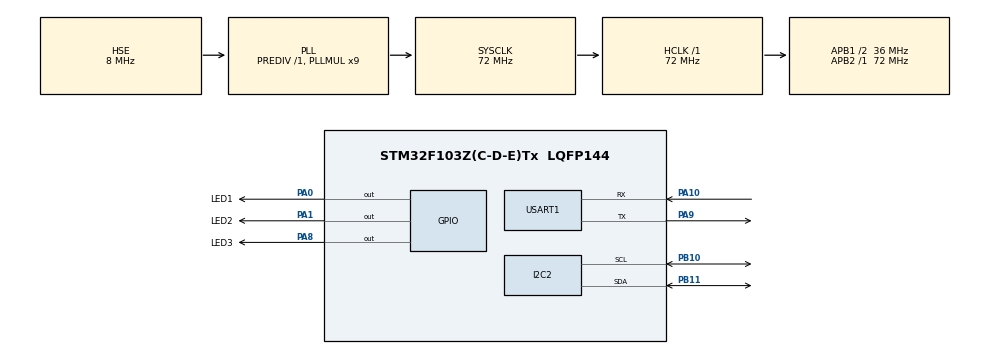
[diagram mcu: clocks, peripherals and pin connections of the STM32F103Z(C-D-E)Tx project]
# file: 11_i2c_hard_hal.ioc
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Mcu.Family=STM32F1
Mcu.Name=STM32F103Z(C-D-E)Tx
Mcu.Package=LQFP144
NVIC.PriorityGroup=NVIC_PRIORITYGROUP_4
NVIC.USART1_IRQn=true\:0\:0\:false\:false\:true\:true\:true\:true
OSC_IN.Mode=HSE-External-Oscillator
OSC_IN.Signal=RCC_OSC_IN
OSC_OUT.Mode=HSE-External-Oscillator
OSC_OUT.Signal=RCC_OSC_OUT
PA0-WKUP.GPIO_Label=LED1
PA0-WKUP.GPIO_Speed=GPIO_SPEED_FREQ_HIGH
PA0-WKUP.PinState=GPIO_PIN_SET
PA0-WKUP.Signal=GPIO_Output
PA1.GPIO_Label=LED2
PA1.GPIO_Speed=GPIO_SPEED_FREQ_HIGH
PA1.PinState=GPIO_PIN_SET
PA1.Signal=GPIO_Output
PA10.Mode=Asynchronous
PA10.Signal=USART1_RX
PA13.Mode=Serial_Wire
PA13.Signal=SYS_JTMS-SWDIO
PA14.Mode=Serial_Wire
PA14.Signal=SYS_JTCK-SWCLK
PA8.GPIO_Label=LED3
PA8.GPIO_Speed=GPIO_SPEED_FREQ_HIGH
PA8.PinState=GPIO_PIN_SET
PA8.Signal=GPIO_Output
PA9.Mode=Asynchronous
PA9.Signal=USART1_TX
PB10.Mode=I2C
PB10.Signal=I2C2_SCL
PB11.Mode=I2C
PB11.Signal=I2C2_SDA
PC14-OSC32_IN.Mode=LSE-External-Oscillator
PC14-OSC32_IN.Signal=RCC_OSC32_IN
PC15-OSC32_OUT.Mode=LSE-External-Oscillator
PC15-OSC32_OUT.Signal=RCC_OSC32_OUT
ProjectManager.HeapSize=0x200
ProjectManager.StackSize=0x400
ProjectManager.TargetToolchain=MDK-ARM V5.32
RCC.AHBFreq_Value=72000000
RCC.APB1CLKDivider=RCC_HCLK_DIV2
RCC.APB1Freq_Value=36000000
RCC.APB1TimFreq_Value=72000000
RCC.APB2Freq_Value=72000000
RCC.APB2TimFreq_Value=72000000
RCC.HCLKFreq_Value=72000000
RCC.PLLMUL=RCC_PLL_MUL9
RCC.PLLSourceVirtual=RCC_PLLSOURCE_HSE
RCC.SYSCLKFreq_VALUE=72000000
RCC.SYSCLKSource=RCC_SYSCLKSOURCE_PLLCLK
RCC.USBFreq_Value=72000000
USART1.VirtualMode=VM_ASYNC
board=custom

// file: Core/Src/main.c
/* USER CODE BEGIN Header */
/**
  ******************************************************************************
  * @file           : main.c
  * @brief          : Main program body
  ******************************************************************************
  * @attention
  *
  * Copyright (c) 2026 STMicroelectronics.
  * All rights reserved.
  *
  * This software is licensed under terms that can be found in the LICENSE file
  * in the root directory of this software component.
  * If no LICENSE file comes with this software, it is provided AS-IS.
  *
  ******************************************************************************
  */
  /* USER CODE END Header */
  /* Includes ------------------------------------------------------------------*/
#include "main.h"
#include "i2c.h"
#include "usart.h"
#include "gpio.h"

/* USER CODE BEGIN Includes */
#include <stdio.h>
/* USER CODE END Includes */

/* USER CODE BEGIN PV */
uint8_t buffer[10] = { 0 };
uint16_t leds[3] = { LED1_Pin, LED2_Pin, LED3_Pin };
uint8_t cmd_index = 0;
/* USER CODE END PV */

void SystemClock_Config(void);
/* USER CODE BEGIN PFP */
uint16_t get_led_pin(uint8_t ch)
{
  printf("%c\n", ch);
  if (ch >= '1' && ch <= '3')
  {
    return leds[ch - '0' - 1];
  }
  return leds[0];
}
/* USER CODE END PFP */

int main(void)
{

  /* MCU Configuration--------------------------------------------------------*/

  /* Reset of all peripherals, Initializes the Flash interface and the Systick. */
  HAL_Init();

  /* Configure the system clock */
  SystemClock_Config();

  /* Initialize all configured peripherals */
  MX_GPIO_Init();
  MX_I2C2_Init();
  MX_USART1_UART_Init();
  /* USER CODE BEGIN 2 */
  HAL_I2C_Mem_Read(&hi2c2, 0xA0, 0x00, I2C_MEMADD_SIZE_8BIT, buffer, 5, UINT32_MAX);

  // 开启了中断使能,开始允许接收指令
  HAL_UART_Receive_IT(&huart1, buffer, 5);

  /* USER CODE END 2 */

  /* Infinite loop */
  /* USER CODE BEGIN WHILE */
  while (1)
  {
    // 1. 根据用户给的字符串获取对应的掩码
    uint8_t cmd_ch = buffer[cmd_index];
    uint16_t led_pin = get_led_pin(cmd_ch);

    // 2. 处理点灯逻辑
    HAL_GPIO_WritePin(GPIOA, led_pin, GPIO_PIN_RESET);
    HAL_Delay(400);
    HAL_GPIO_WritePin(GPIOA, led_pin, GPIO_PIN_SET);
    HAL_Delay(400);

    // 3. 更改指令的索引
    cmd_index++;
    if (cmd_index == 5)
    {
      cmd_index = 0;
    }

    // 4. 判断中断使能是否为关闭,如果是关闭的就,就说明数据接收完成
    if ((huart1.Instance->CR1 & USART_CR1_RXNEIE) == 0)
    {
      cmd_index = 0;  // 指令清理,准备开始新的指令

      // 保存指令
      HAL_I2C_Mem_Write(&hi2c2, 0xA0, 0x00, I2C_MEMADD_SIZE_8BIT, buffer, 5, UINT32_MAX);
      HAL_Delay(5);
      HAL_UART_Receive_IT(&huart1, buffer, 5);
    }

    /* USER CODE END WHILE */

  }
}

void SystemClock_Config(void)
{
  RCC_OscInitTypeDef RCC_OscInitStruct = { 0 };
  RCC_ClkInitTypeDef RCC_ClkInitStruct = { 0 };

  /** Initializes the RCC Oscillators according to the specified parameters
  * in the RCC_OscInitTypeDef structure.
  */
  RCC_OscInitStruct.OscillatorType = RCC_OSCILLATORTYPE_HSE;
  RCC_OscInitStruct.HSEState = RCC_HSE_ON;
  RCC_OscInitStruct.HSEPredivValue = RCC_HSE_PREDIV_DIV1;
  RCC_OscInitStruct.HSIState = RCC_HSI_ON;
  RCC_OscInitStruct.PLL.PLLState = RCC_PLL_ON;
  RCC_OscInitStruct.PLL.PLLSource = RCC_PLLSOURCE_HSE;
  RCC_OscInitStruct.PLL.PLLMUL = RCC_PLL_MUL9;
  if (HAL_RCC_OscConfig(&RCC_OscInitStruct) != HAL_OK)
  {
    Error_Handler();
  }

  /** Initializes the CPU, AHB and APB buses clocks
  */
  RCC_ClkInitStruct.ClockType = RCC_CLOCKTYPE_HCLK | RCC_CLOCKTYPE_SYSCLK
    | RCC_CLOCKTYPE_PCLK1 | RCC_CLOCKTYPE_PCLK2;
  RCC_ClkInitStruct.SYSCLKSource = RCC_SYSCLKSOURCE_PLLCLK;
  RCC_ClkInitStruct.AHBCLKDivider = RCC_SYSCLK_DIV1;
  RCC_ClkInitStruct.APB1CLKDivider = RCC_HCLK_DIV2;
  RCC_ClkInitStruct.APB2CLKDivider = RCC_HCLK_DIV1;

  if (HAL_RCC_ClockConfig(&RCC_ClkInitStruct, FLASH_LATENCY_2) != HAL_OK)
  {
    Error_Handler();
  }
}

void Error_Handler(void)
{
  __disable_irq();
  while (1)
  {
  }
}
